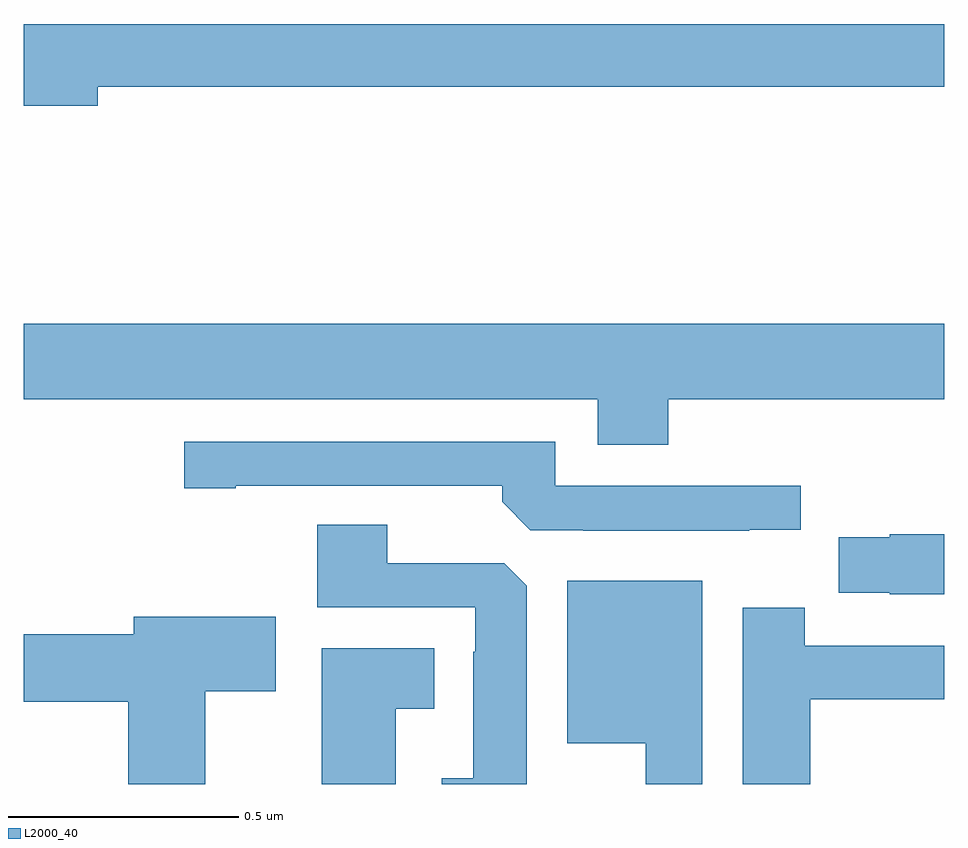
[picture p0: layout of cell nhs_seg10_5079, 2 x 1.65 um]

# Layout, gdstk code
import gdstk
lib = gdstk.Library(unit=1e-6, precision=1e-09)
def P(c, l, *ps):  # polygons
    for p in ps: c.add(gdstk.Polygon(p, *l))
L2000_40 = (2000, 40)

nhs_seg10_5079 = lib.new_cell('nhs_seg10_5079')
P(nhs_seg10_5079, L2000_40, [(174.16,1281.016),(176,1281.016),(176,1281.152),(174,1281.152),(174,1280.974),(174.16,1280.974)],
  [(175.4,1280.336),(176,1280.336),(176,1280.5),(174,1280.5),(174,1280.336),(175.247,1280.336),(175.247,1280.237),(175.4,1280.237)],
  [(175.577,1280.053),(175.688,1280.053),(175.688,1280.148),(175.155,1280.148),(175.155,1280.244),(174.348,1280.244),(174.348,1280.143),(174.46,1280.143),(174.46,1280.148),(175.04,1280.148),(175.04,1280.114),(175.101,1280.052),(175.216,1280.052),(175.216,1280.051),(175.577,1280.051)],
  [(175.093,1279.931),(175.044,1279.98),(174.79,1279.98),(174.79,1280.063),(174.638,1280.063),(174.638,1279.884),(174.981,1279.884),(174.981,1279.787),(174.977,1279.787),(174.977,1279.513),(174.908,1279.513),(174.908,1279.5),(175.093,1279.5)],
  [(176,1280.043),(175.882,1280.043),(175.882,1280.036),(175.771,1280.036),(175.771,1279.916),(175.882,1279.916),(175.882,1279.913),(176,1279.913)],
  [(175.474,1279.942),(175.181,1279.942),(175.181,1279.589),(175.352,1279.589),(175.352,1279.5),(175.474,1279.5)],
  [(175.709,1279.684),(176,1279.684),(176,1279.8),(175.697,1279.8),(175.697,1279.883),(175.562,1279.883),(175.562,1279.5),(175.709,1279.5)],
  [(174.394,1279.702),(174.547,1279.702),(174.547,1279.864),(174.239,1279.864),(174.239,1279.826),(174,1279.826),(174,1279.679),(174.227,1279.679),(174.227,1279.5),(174.394,1279.5)],
  [(174.808,1279.664),(174.892,1279.664),(174.892,1279.795),(174.647,1279.795),(174.647,1279.5),(174.808,1279.5)])

lib.write_gds('nhs_seg10_5079.gds')
